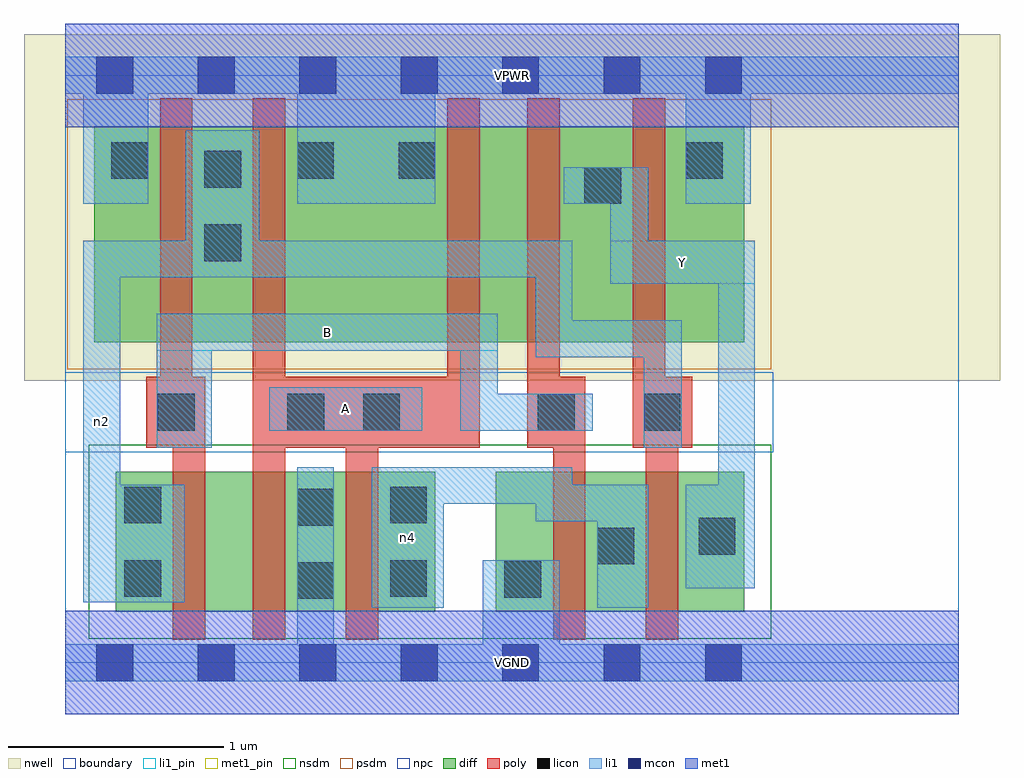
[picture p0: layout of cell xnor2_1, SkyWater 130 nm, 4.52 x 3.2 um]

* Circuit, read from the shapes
.subckt xnor2_1 A B VGND VPWR Y n2 n4
XM1 n1 B n2 VSUBS sky130_fd_pr__nfet_01v8 w=0.65 l=0.15
XM2 VGND A n1 VSUBS sky130_fd_pr__nfet_01v8 w=0.65 l=0.15
XM3 n4 A VGND VSUBS sky130_fd_pr__nfet_01v8 w=0.65 l=0.15
XM4 n4 B VGND VSUBS sky130_fd_pr__nfet_01v8 w=0.65 l=0.15
XM5 Y n2 n4 VSUBS sky130_fd_pr__nfet_01v8 w=0.65 l=0.15
XM6 n2 B VPWR n3 sky130_fd_pr__pfet_01v8 w=1 l=0.15
XM7 VPWR A n2 n3 sky130_fd_pr__pfet_01v8 w=1 l=0.15
XM8 n5 A VPWR n3 sky130_fd_pr__pfet_01v8 w=1 l=0.15
XM9 Y B n5 n3 sky130_fd_pr__pfet_01v8 w=1 l=0.15
XM10 VPWR n2 Y n3 sky130_fd_pr__pfet_01v8 w=1 l=0.15
.ends

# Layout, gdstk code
import gdstk
lib = gdstk.Library(unit=1e-6, precision=1e-09)
def R(c, l, rs):  # rectangles x0, y0, x1, y1
    for r in rs: c.add(gdstk.rectangle(r[:2], r[2:], *l))
def A(c, l, x, y, w, h, nx, ny, dx, dy):  # array of equal rectangles
    R(c, l, [(x+i*dx, y+j*dy, x+i*dx+w, y+j*dy+h) for i in range(nx) for j in range(ny)])
nwell = (64, 20)
diff = (65, 20)
poly = (66, 20)
licon = (66, 44)
li1_pin = (67, 16)
li1 = (67, 20)
mcon = (67, 44)
met1_pin = (68, 16)
met1 = (68, 20)
nsdm = (93, 44)
psdm = (94, 20)
npc = (95, 20)
boundary = (235, 4)

xnor2_1 = lib.new_cell('xnor2_1')
R(xnor2_1, nwell, [(-0.19,1.305,4.33,2.91), (0,1.305,4.14,2.91)])
R(xnor2_1, diff, [(0.235,0.235,1.715,0.885), (1.995,0.235,3.145,0.885), (0.135,1.485,3.145,2.485)])
R(xnor2_1, poly, [(0.5,0.105,0.65,1.325), (0.87,0.105,1.02,2.615), (1.3,0.105,1.45,1.325), (2.26,0.105,2.41,1.325), (2.69,0.105,2.84,1.325), (0.375,0.995,0.65,1.325), (0.44,0.995,0.59,2.615), (0.87,0.995,1.92,1.325), (1.77,0.995,1.92,2.615), (2.14,0.995,2.29,2.615), (2.63,0.995,2.905,1.325), (2.63,0.995,2.78,2.615)])
R(xnor2_1, licon, [(1.075,0.295,1.245,0.465), (2.035,0.3,2.205,0.47), (0.275,0.305,0.445,0.475), (1.505,0.305,1.675,0.475), (2.465,0.455,2.635,0.625), (2.935,0.5,3.105,0.67), (1.075,0.635,1.245,0.805), (0.275,0.645,0.445,0.815), (1.505,0.645,1.675,0.815), (0.43,1.075,0.6,1.245), (1.03,1.075,1.2,1.245), (1.38,1.075,1.55,1.245), (2.19,1.075,2.36,1.245), (2.68,1.075,2.85,1.245), (0.645,1.86,0.815,2.03), (2.405,2.125,2.575,2.295), (0.645,2.2,0.815,2.37), (0.215,2.24,0.385,2.41), (1.075,2.24,1.245,2.41), (1.545,2.24,1.715,2.41), (2.875,2.24,3.045,2.41)])
R(xnor2_1, li1_pin, [(0.945,1.075,1.655,1.275), (0.425,1.445,2.005,1.615), (2.525,1.755,3.195,1.955)])
R(xnor2_1, li1, [(0,-0.085,4.14,0.085), (1.075,-0.085,1.245,0.905), (1.935,-0.085,2.29,0.475), (1.42,0.255,1.755,0.905), (2.465,0.255,2.7,0.825), (0.085,0.28,0.255,1.955), (0.085,0.28,0.555,0.825), (2.875,0.345,3.195,0.825), (3.025,0.345,3.195,1.955), (2.18,0.655,2.7,0.825), (1.42,0.735,2.35,0.905), (0.425,0.995,0.68,1.615), (2.68,0.995,2.855,1.585), (0.945,1.075,1.655,1.275), (1.83,1.075,2.445,1.245), (1.83,1.075,2.005,1.615), (2.18,1.415,2.855,1.585), (2.18,1.415,2.35,1.955), (0.425,1.445,2.005,1.615), (2.525,1.755,2.7,2.295), (2.525,1.755,3.195,1.955), (0.085,1.785,2.35,1.955), (0.56,1.785,0.9,2.465), (0.085,2.125,0.385,2.805), (1.075,2.125,1.715,2.805), (2.31,2.125,2.7,2.295), (2.875,2.125,3.175,2.805), (0,2.635,4.14,2.805)])
A(xnor2_1, mcon, 0.145, -0.085, 0.17, 0.17, 7, 2, 0.47, 2.72)
R(xnor2_1, met1_pin, [(0,-0.24,4.14,0.24), (0,2.48,4.14,2.96)])
R(xnor2_1, met1, [(0,-0.24,4.14,0.24), (0,2.48,4.14,2.96)])
R(xnor2_1, nsdm, [(0.11,0.11,3.27,1.01)])
R(xnor2_1, psdm, [(0.01,1.36,3.27,2.61)])
R(xnor2_1, npc, [(0,0.975,3.28,1.345)])
R(xnor2_1, boundary, [(0,0,4.14,2.72)])
xnor2_1.add(gdstk.Label('A', (1.3,1.175), layer=67, texttype=5))
xnor2_1.add(gdstk.Label('B', (1.215,1.53), layer=67, texttype=5))
xnor2_1.add(gdstk.Label('Y', (2.86,1.855), layer=67, texttype=5))
xnor2_1.add(gdstk.Label('n4', (1.587,0.58), layer=67, texttype=5))
xnor2_1.add(gdstk.Label('n2', (0.17,1.117), layer=67, texttype=5))
xnor2_1.add(gdstk.Label('VPWR', (2.07,2.72), layer=68, texttype=5))
xnor2_1.add(gdstk.Label('VGND', (2.07,0), layer=68, texttype=5))
xnor2_1.add(gdstk.Label('A', (1.3,1.175), layer=67, texttype=16))
xnor2_1.add(gdstk.Label('B', (1.215,1.53), layer=67, texttype=16))
xnor2_1.add(gdstk.Label('Y', (2.86,1.855), layer=67, texttype=16))
xnor2_1.add(gdstk.Label('VPWR', (2.07,2.72), layer=68, texttype=16))
xnor2_1.add(gdstk.Label('VGND', (2.07,0), layer=68, texttype=16))

lib.write_gds('xnor2_1.gds')
